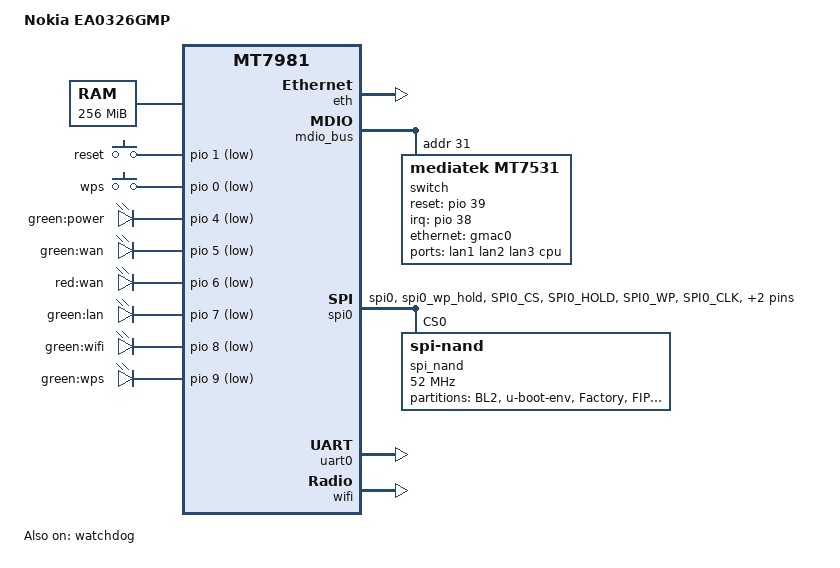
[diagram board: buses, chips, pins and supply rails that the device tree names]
// SPDX-License-Identifier: GPL-2.0-or-later OR MIT

/dts-v1/;
#include <dt-bindings/gpio/gpio.h>
#include <dt-bindings/input/input.h>

#include "mt7981.dtsi"

/ {
	model = "Nokia EA0326GMP";
	compatible = "nokia,ea0326gmp", "mediatek,mt7981";

	aliases {
		serial0 = &uart0;

		led-boot = &led_power;
		led-failsafe = &led_power;
		led-running = &led_power;
		led-upgrade = &led_power;
		label-mac-device = &gmac1;
	};

	chosen {
		stdout-path = "serial0:115200n8";
	};

	memory {
		reg = <0 0x40000000 0 0x10000000>;
	};

	gpio-keys {
		compatible = "gpio-keys";

		reset {
			label = "reset";
			linux,code = <KEY_RESTART>;
			gpios = <&pio 1 GPIO_ACTIVE_LOW>;
		};

		wps {
			label = "wps";
			linux,code = <KEY_WPS_BUTTON>;
			gpios = <&pio 0 GPIO_ACTIVE_LOW>;
		};
	};

	leds {
		compatible = "gpio-leds";

		led_power: power {
			label = "green:power";
			gpios = <&pio 4 GPIO_ACTIVE_LOW>;
		};

		wan_green {
			label = "green:wan";
			gpios = <&pio 5 GPIO_ACTIVE_LOW>;
		};

		wan_red {
			label = "red:wan";
			gpios = <&pio 6 GPIO_ACTIVE_LOW>;
		};

		lan {
			label = "green:lan";
			gpios = <&pio 7 GPIO_ACTIVE_LOW>;
		};

		wifi {
			label = "green:wifi";
			gpios = <&pio 8 GPIO_ACTIVE_LOW>;
			linux,default-trigger = "phy1tpt";
		};

		wps {
			label = "green:wps";
			gpios = <&pio 9 GPIO_ACTIVE_LOW>;
		};
	};
};

&eth {
	status = "okay";

	gmac0: mac@0 {
		compatible = "mediatek,eth-mac";
		reg = <0>;
		phy-mode = "2500base-x";

		nvmem-cells = <&macaddr_factory_28 0>;
		nvmem-cell-names = "mac-address";

		fixed-link {
			speed = <2500>;
			full-duplex;
			pause;
		};
	};

	gmac1: mac@1 {
		compatible = "mediatek,eth-mac";
		reg = <1>;
		phy-mode = "gmii";
		phy-handle = <&int_gbe_phy>;

		nvmem-cells = <&macaddr_factory_28 3>;
		nvmem-cell-names = "mac-address";
	};
};

&mdio_bus {
	switch: switch@0 {
		compatible = "mediatek,mt7531";
		reg = <31>;
		reset-gpios = <&pio 39 GPIO_ACTIVE_HIGH>;
		interrupt-controller;
		#interrupt-cells = <1>;
		interrupt-parent = <&pio>;
		interrupts = <38 IRQ_TYPE_LEVEL_HIGH>;
	};
};

&spi0 {
	pinctrl-names = "default";
	pinctrl-0 = <&spi0_flash_pins>;
	status = "okay";

	spi_nand@0 {
		compatible = "spi-nand";
		#address-cells = <1>;
		#size-cells = <1>;
		reg = <0>;

		spi-max-frequency = <52000000>;
		spi-tx-bus-width = <4>;
		spi-rx-bus-width = <4>;

		mediatek,nmbm;
		mediatek,bmt-max-ratio = <1>;
		mediatek,bmt-max-reserved-blocks = <64>;

		partitions {
			compatible = "fixed-partitions";
			#address-cells = <1>;
			#size-cells = <1>;

			partition@0 {
				label = "BL2";
				reg = <0x0000000 0x0100000>;
				read-only;
			};

			partition@100000 {
				label = "u-boot-env";
				reg = <0x0100000 0x0080000>;
			};

			factory: partition@180000 {
				label = "Factory";
				reg = <0x0180000 0x0200000>;
				read-only;
			};

			partition@380000 {
				label = "FIP";
				reg = <0x0380000 0x0200000>;
				read-only;
			};

			partition@580000 {
				label = "Config";
				reg = <0x0580000 0x0200000>;
				read-only;
			};

			partition@780000 {
				label = "Config2";
				reg = <0x0780000 0x0200000>;
				read-only;
			};

			partition@980000 {
				label = "Aos-net";
				reg = <0x0980000 0x0c00000>;
				read-only;
			};

			partition@1580000 {
				label = "bvasPlugin";
				reg = <0x1580000 0x0c00000>;
				read-only;
			};

			partition@2180000 {
				label = "ubi";
				reg = <0x2180000 0x5680000>;
			};
		};
	};
};

&switch {
	ports {
		#address-cells = <1>;
		#size-cells = <0>;

		port@1 {
			reg = <1>;
			label = "lan1";
		};

		port@2 {
			reg = <2>;
			label = "lan2";
		};

		port@3 {
			reg = <3>;
			label = "lan3";
		};

		port@6 {
			reg = <6>;
			label = "cpu";
			ethernet = <&gmac0>;
			phy-mode = "2500base-x";

			fixed-link {
				speed = <2500>;
				full-duplex;
				pause;
			};
		};
	};
};

&pio {
	spi0_flash_pins: spi0-pins {
		mux {
			function = "spi";
			groups = "spi0", "spi0_wp_hold";
		};

		conf-pu {
			pins = "SPI0_CS", "SPI0_HOLD", "SPI0_WP";
			drive-strength = <8>;
			mediatek,pull-up-adv = <0>; /* bias-disable */
		};

		conf-pd {
			pins = "SPI0_CLK", "SPI0_MOSI", "SPI0_MISO";
			drive-strength = <8>;
			mediatek,pull-up-adv = <0>; /* bias-disable */
		};
	};
};

&uart0 {
	status = "okay";
};

&watchdog {
	status = "okay";
};

&wifi {
	status = "okay";

	mediatek,mtd-eeprom = <&factory 0x0>;
	nvmem-cells = <&macaddr_factory_28 1>;
	nvmem-cell-names = "mac-address";
};

&factory {
	nvmem-layout {
		compatible = "fixed-layout";
		#address-cells = <1>;
		#size-cells = <1>;

		macaddr_factory_28: macaddr@28 {
			compatible = "mac-base";
			reg = <0x28 0x6>;
			#nvmem-cell-cells = <1>;
		};
	};
};
